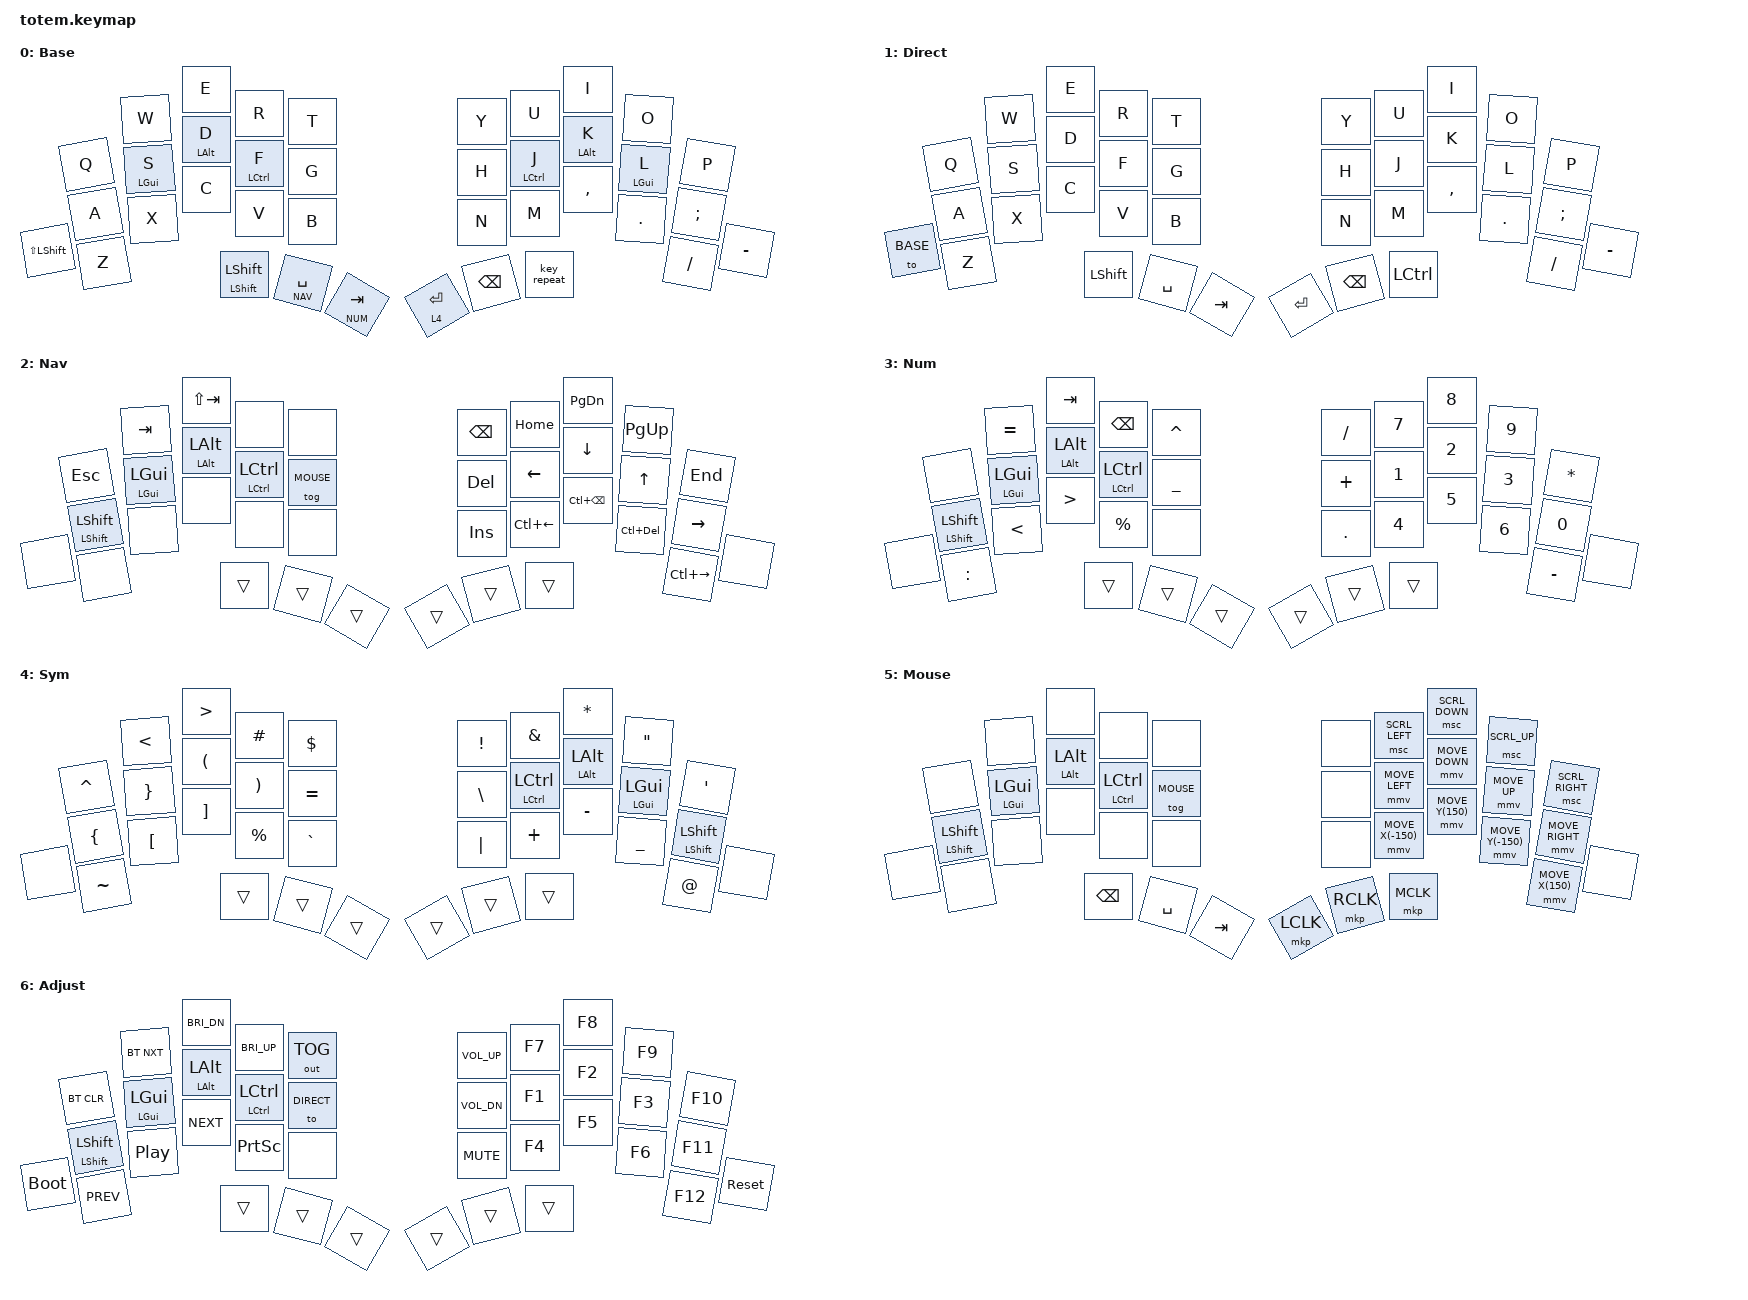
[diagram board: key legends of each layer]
#include <behaviors.dtsi>
#include <dt-bindings/zmk/bt.h>
#include <dt-bindings/zmk/keys.h>
#include <dt-bindings/zmk/outputs.h>
#include <dt-bindings/zmk/pointing.h>

#define BASE   0
#define DIRECT 1
#define NAV    2
#define NUM    3
#define SYM    4
#define MOUSE  5
#define ADJUST 6

/*
 * TOTEM position order:
 *
 *   0..9    top row
 *   10..19  home row
 *   20..31  bottom row, including the two outer keys
 *   32..37  thumb cluster
 *
 * Bottom row:
 *   20 | 21 22 23 24 25 | 26 27 28 29 30 | 31
 *
 * Thumbs:
 *   32 33 34 | 35 36 37
 */
/*
 * Thumb layer-taps.
 * These settings are intentionally independent from the home-row mods.
 */

&lt {
    flavor = "balanced";
    tapping-term-ms = <220>;
    quick-tap-ms = <150>;
};

/*
 * Sticky modifier behavior used by Smart Mod.
 */

&sk {
    release-after-ms = <2000>;
    quick-release;
    lazy;
};

/ {
    behaviors {
        /*
         * Smart Mod:
         * tap  -> sticky / one-shot modifier
         * hold -> normal continuous modifier
         */

        smod: smart_mod {
            compatible = "zmk,behavior-hold-tap";
            #binding-cells = <2>;
            display-name = "Smart Mod";
            bindings = <&kp>, <&sk>;

            flavor = "hold-preferred";
            tapping-term-ms = <200>;
        };

        /*
         * Positional home-row mods.
         * Same-hand typing rolls stay biased toward taps.
         */

        hml: home_row_mod_left {
            compatible = "zmk,behavior-hold-tap";
            #binding-cells = <2>;
            display-name = "HRM Left";
            bindings = <&kp>, <&kp>;

            flavor = "balanced";
            tapping-term-ms = <280>;
            quick-tap-ms = <175>;
            require-prior-idle-ms = <125>;
            hold-trigger-key-positions = <
                5 6 7 8 9
                15 16 17 18 19
                26 27 28 29 30 31
                32 33 34 35 36 37
            >;

            hold-trigger-on-release;
        };

        hmr: home_row_mod_right {
            compatible = "zmk,behavior-hold-tap";
            #binding-cells = <2>;
            display-name = "HRM Right";
            bindings = <&kp>, <&kp>;

            flavor = "balanced";
            tapping-term-ms = <280>;
            quick-tap-ms = <175>;
            require-prior-idle-ms = <125>;
            hold-trigger-key-positions = <
                0 1 2 3 4
                10 11 12 13 14
                20 21 22 23 24 25
                32 33 34 35 36 37
            >;

            hold-trigger-on-release;
        };
    };

    combos {
        compatible = "zmk,combos";

        combo_escape {
            timeout-ms = <40>;
            key-positions = <0 1>;
            layers = <BASE>;
            bindings = <&kp ESC>;
        };

        combo_caps_word {
            timeout-ms = <40>;
            key-positions = <21 22>;
            layers = <BASE>;
            bindings = <&caps_word>;
        };
    };

    /*
     * Adjust becomes active only while both Num and Sym are active.
     */

    conditional_layers {
        compatible = "zmk,conditional-layers";

        adjust_layer {
            if-layers = <NUM SYM>;
            then-layer = <ADJUST>;
        };
    };

    keymap {
        compatible = "zmk,keymap";

        base_layer {
            display-name = "Base";
            bindings = <
                &kp Q  &kp W        &kp E                &kp R          &kp T          &kp Y        &kp U         &kp I        &kp O        &kp P
                &kp A  &hml LGUI S  &hml LALT D          &hml LCTRL F   &kp G          &kp H        &hmr LCTRL J  &hmr LALT K  &hmr LGUI L  &kp SEMI
&kp LS(LSHIFT)  &kp Z  &kp X        &kp C                &kp V          &kp B          &kp N        &kp M         &kp COMMA    &kp DOT      &kp SLASH  &kp MINUS
                                    &smod LSHIFT LSHIFT  &lt NAV SPACE  &lt NUM TAB    &lt 4 ENTER  &kp BSPC      &key_repeat
            >;
        };

        direct_layer {
            display-name = "Direct";
            bindings = <
          &kp Q  &kp W  &kp E       &kp R      &kp T      &kp Y      &kp U     &kp I      &kp O    &kp P
          &kp A  &kp S  &kp D       &kp F      &kp G      &kp H      &kp J     &kp K      &kp L    &kp SEMI
&to BASE  &kp Z  &kp X  &kp C       &kp V      &kp B      &kp N      &kp M     &kp COMMA  &kp DOT  &kp SLASH  &kp MINUS
                        &kp LSHIFT  &kp SPACE  &kp TAB    &kp ENTER  &kp BSPC  &kp LCTRL
            >;
        };

        nav_layer {
            display-name = "Nav";
            bindings = <
       &kp ESC              &kp TAB          &kp LS(TAB)      &none              &none         &kp BSPC  &kp HOME      &kp PG_DN     &kp PG_UP    &kp END
       &smod LSHIFT LSHIFT  &smod LGUI LGUI  &smod LALT LALT  &smod LCTRL LCTRL  &tog MOUSE    &kp DEL   &kp LEFT      &kp DOWN      &kp UP       &kp RIGHT
&none  &none                &none            &none            &none              &none         &kp INS   &kp LC(LEFT)  &kp LC(BSPC)  &kp LC(DEL)  &kp LC(RIGHT)  &none
                                             &trans           &trans             &trans        &trans    &trans        &trans
            >;
        };

        num_layer {
            display-name = "Num";
            bindings = <
       &none                &kp EQUAL        &kp TAB          &kp BSPC           &kp CARET    &kp SLASH  &kp N7  &kp N8  &kp N9  &kp ASTERISK
       &smod LSHIFT LSHIFT  &smod LGUI LGUI  &smod LALT LALT  &smod LCTRL LCTRL  &kp UNDER    &kp PLUS   &kp N1  &kp N2  &kp N3  &kp N0
&none  &kp COLON            &kp LT           &kp GT           &kp PERCENT        &none        &kp DOT    &kp N4  &kp N5  &kp N6  &kp MINUS     &none
                                             &trans           &trans             &trans       &trans     &trans  &trans
            >;
        };

        sym_layer {
            display-name = "Sym";
            bindings = <
       &kp CARET  &kp LT    &kp GT    &kp HASH     &kp DOLLAR    &kp EXCL       &kp AMPERSAND      &kp ASTERISK     &kp DQT          &kp SQT
       &kp LBRC   &kp RBRC  &kp LPAR  &kp RPAR     &kp EQUAL     &kp BACKSLASH  &smod LCTRL LCTRL  &smod LALT LALT  &smod LGUI LGUI  &smod LSHIFT LSHIFT
&none  &kp TILDE  &kp LBKT  &kp RBKT  &kp PERCENT  &kp GRAVE     &kp PIPE       &kp PLUS           &kp MINUS        &kp UNDER        &kp AT               &none
                            &trans    &trans       &trans        &trans         &trans             &trans
            >;
        };

        mouse_layer {
            display-name = "Mouse";
            bindings = <
       &none                &none            &none            &none              &none         &none      &msc SCRL_LEFT     &msc SCRL_DOWN    &msc SCRL_UP       &msc SCRL_RIGHT
       &smod LSHIFT LSHIFT  &smod LGUI LGUI  &smod LALT LALT  &smod LCTRL LCTRL  &tog MOUSE    &none      &mmv MOVE_LEFT     &mmv MOVE_DOWN    &mmv MOVE_UP       &mmv MOVE_RIGHT
&none  &none                &none            &none            &none              &none         &none      &mmv MOVE_X(-150)  &mmv MOVE_Y(150)  &mmv MOVE_Y(-150)  &mmv MOVE_X(150)  &none
                                             &kp BSPC         &kp SPACE          &kp TAB       &mkp LCLK  &mkp RCLK          &mkp MCLK
            >;
        };

        adjust_layer {
            display-name = "Adjust";
            bindings = <
             &bt BT_CLR           &bt BT_NXT       &kp C_BRI_DN     &kp C_BRI_UP       &out OUT_TOG    &kp C_VOL_UP  &kp F7  &kp F8  &kp F9  &kp F10
             &smod LSHIFT LSHIFT  &smod LGUI LGUI  &smod LALT LALT  &smod LCTRL LCTRL  &to DIRECT      &kp C_VOL_DN  &kp F1  &kp F2  &kp F3  &kp F11
&bootloader  &kp C_PREV           &kp C_PP         &kp C_NEXT       &kp PSCRN          &none           &kp C_MUTE    &kp F4  &kp F5  &kp F6  &kp F12  &sys_reset
                                                   &trans           &trans             &trans          &trans        &trans  &trans
            >;
        };
    };
};
